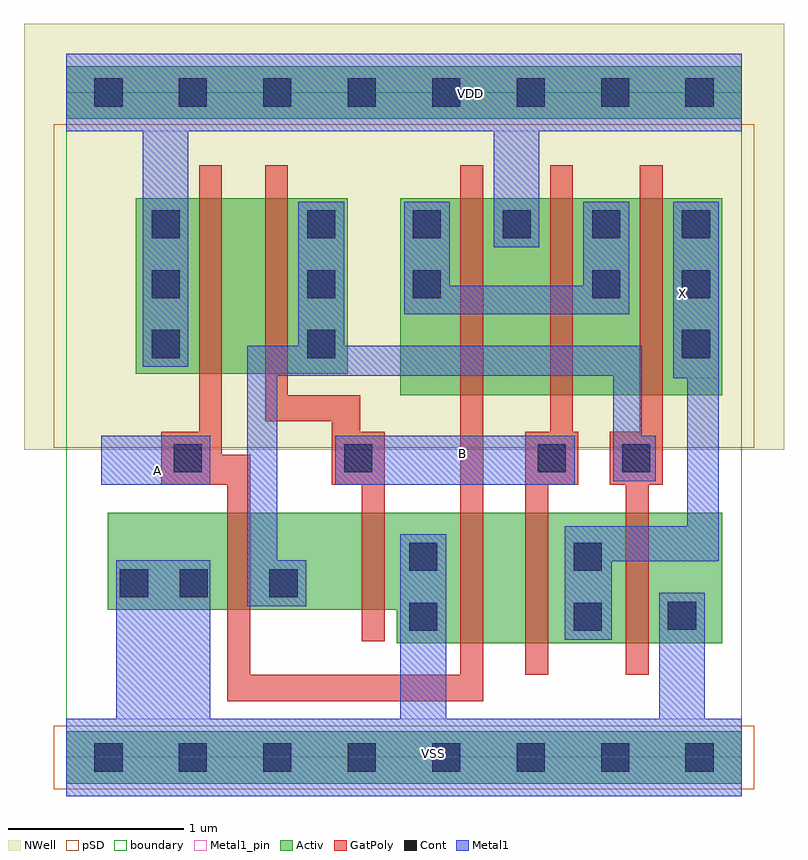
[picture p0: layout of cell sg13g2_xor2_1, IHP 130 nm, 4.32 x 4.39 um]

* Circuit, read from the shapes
.subckt sg13g2_xor2_1 A B VDD VSS X
XM1 n1 A VSS VSS sg13_lv_nmos w=0.55u l=0.13u
XM2 VSS B n1 VSS sg13_lv_nmos w=0.55u l=0.13u
XM3 n2 A VSS VSS sg13_lv_nmos w=0.74u l=0.13u
XM4 X B n2 VSS sg13_lv_nmos w=0.74u l=0.13u
XM5 VSS n1 X VSS sg13_lv_nmos w=0.74u l=0.13u
XM6 n3 A VDD VDD sg13_lv_pmos w=1u l=0.13u
XM7 n1 B n3 VDD sg13_lv_pmos w=1u l=0.13u
XM8 VDD A n4 VDD sg13_lv_pmos w=1.12u l=0.13u
XM9 n4 B VDD VDD sg13_lv_pmos w=1.12u l=0.13u
XM10 X n1 n4 VDD sg13_lv_pmos w=1.12u l=0.13u
.ends

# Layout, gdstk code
import gdstk
lib = gdstk.Library(unit=1e-6, precision=1e-09)
def R(c, l, rs):  # rectangles x0, y0, x1, y1
    for r in rs: c.add(gdstk.rectangle(r[:2], r[2:], *l))
def P(c, l, *ps):  # polygons
    for p in ps: c.add(gdstk.Polygon(p, *l))
Activ = (1, 0)
GatPoly = (5, 0)
Cont = (6, 0)
Metal1 = (8, 0)
Metal1_pin = (8, 2)
pSD = (14, 0)
NWell = (31, 0)
boundary = (189, 4)

sg13g2_xor2_1 = lib.new_cell('sg13g2_xor2_1')
R(sg13g2_xor2_1, Activ, [(0,-0.15,3.84,0.15), (0,-0.15,3.84,0.15), (1.9,2.06,3.73,3.18), (1.9,2.06,3.73,3.18), (0.395,2.18,1.6,3.18), (0.395,2.18,1.6,3.18), (0,3.63,3.84,3.93), (0,3.63,3.84,3.93)])
P(sg13g2_xor2_1, Activ, [(1.88,0.65),(1.88,0.84),(0.235,0.84),(0.235,1.39),(3.73,1.39),(3.73,0.65)],
  [(1.88,0.65),(1.88,0.84),(0.235,0.84),(0.235,1.39),(3.73,1.39),(3.73,0.65)])
P(sg13g2_xor2_1, GatPoly, [(1.68,0.66),(1.68,1.55),(1.51,1.55),(1.51,1.91),(1.13,1.91),(1.13,3.365),(1.26,3.365),(1.26,2.06),(1.67,2.06),(1.67,1.85),(1.81,1.85),(1.81,0.66)],
  [(2.61,0.47),(2.61,1.85),(2.75,1.85),(2.75,3.365),(2.88,3.365),(2.88,1.85),(2.91,1.85),(2.91,1.55),(2.74,1.55),(2.74,0.47)],
  [(3.18,0.47),(3.18,1.55),(3.09,1.55),(3.09,1.85),(3.26,1.85),(3.26,3.365),(3.39,3.365),(3.39,1.55),(3.31,1.55),(3.31,0.47)],
  [(0.915,0.32),(0.915,1.55),(0.54,1.55),(0.54,1.85),(0.755,1.85),(0.755,3.365),(0.885,3.365),(0.885,1.72),(1.045,1.72),(1.045,0.47),(2.24,0.47),(2.24,3.365),(2.37,3.365),(2.37,0.32)],
  [(1.68,0.66),(1.68,1.55),(1.51,1.55),(1.51,1.91),(1.13,1.91),(1.13,3.365),(1.26,3.365),(1.26,2.06),(1.67,2.06),(1.67,1.85),(1.81,1.85),(1.81,0.66)],
  [(2.61,0.47),(2.61,1.85),(2.75,1.85),(2.75,3.365),(2.88,3.365),(2.88,1.85),(2.91,1.85),(2.91,1.55),(2.74,1.55),(2.74,0.47)],
  [(3.18,0.47),(3.18,1.55),(3.09,1.55),(3.09,1.85),(3.26,1.85),(3.26,3.365),(3.39,3.365),(3.39,1.55),(3.31,1.55),(3.31,0.47)],
  [(0.915,0.32),(0.915,1.55),(0.54,1.55),(0.54,1.85),(0.755,1.85),(0.755,3.365),(0.885,3.365),(0.885,1.72),(1.045,1.72),(1.045,0.47),(2.24,0.47),(2.24,3.365),(2.37,3.365),(2.37,0.32)])
R(sg13g2_xor2_1, Cont, [(0.16,-0.08,0.32,0.08), (0.16,-0.08,0.32,0.08), (0.64,-0.08,0.8,0.08), (0.64,-0.08,0.8,0.08), (1.12,-0.08,1.28,0.08), (1.12,-0.08,1.28,0.08), (1.6,-0.08,1.76,0.08), (1.6,-0.08,1.76,0.08), (2.08,-0.08,2.24,0.08), (2.08,-0.08,2.24,0.08), (2.56,-0.08,2.72,0.08), (2.56,-0.08,2.72,0.08), (3.04,-0.08,3.2,0.08), (3.04,-0.08,3.2,0.08), (3.52,-0.08,3.68,0.08), (3.52,-0.08,3.68,0.08), (1.95,0.72,2.11,0.88), (1.95,0.72,2.11,0.88), (2.885,0.72,3.045,0.88), (2.885,0.72,3.045,0.88), (3.42,0.725,3.58,0.885), (3.42,0.725,3.58,0.885), (0.305,0.91,0.465,1.07), (0.305,0.91,0.465,1.07), (0.645,0.91,0.805,1.07), (0.645,0.91,0.805,1.07), (1.155,0.91,1.315,1.07), (1.155,0.91,1.315,1.07), (1.95,1.06,2.11,1.22), (1.95,1.06,2.11,1.22), (2.885,1.06,3.045,1.22), (2.885,1.06,3.045,1.22), (0.61,1.62,0.77,1.78), (0.61,1.62,0.77,1.78), (1.58,1.62,1.74,1.78), (1.58,1.62,1.74,1.78), (2.68,1.62,2.84,1.78), (2.68,1.62,2.84,1.78), (3.16,1.62,3.32,1.78), (3.16,1.62,3.32,1.78), (0.485,2.27,0.645,2.43), (0.485,2.27,0.645,2.43), (1.37,2.27,1.53,2.43), (1.37,2.27,1.53,2.43), (3.5,2.27,3.66,2.43), (3.5,2.27,3.66,2.43), (0.485,2.61,0.645,2.77), (0.485,2.61,0.645,2.77), (1.37,2.61,1.53,2.77), (1.37,2.61,1.53,2.77), (1.97,2.61,2.13,2.77), (1.97,2.61,2.13,2.77), (2.99,2.61,3.15,2.77), (2.99,2.61,3.15,2.77), (3.5,2.61,3.66,2.77), (3.5,2.61,3.66,2.77), (0.485,2.95,0.645,3.11), (0.485,2.95,0.645,3.11), (1.37,2.95,1.53,3.11), (1.37,2.95,1.53,3.11), (1.97,2.95,2.13,3.11), (1.97,2.95,2.13,3.11), (2.48,2.95,2.64,3.11), (2.48,2.95,2.64,3.11), (2.99,2.95,3.15,3.11), (2.99,2.95,3.15,3.11), (3.5,2.95,3.66,3.11), (3.5,2.95,3.66,3.11), (0.16,3.7,0.32,3.86), (0.16,3.7,0.32,3.86), (0.64,3.7,0.8,3.86), (0.64,3.7,0.8,3.86), (1.12,3.7,1.28,3.86), (1.12,3.7,1.28,3.86), (1.6,3.7,1.76,3.86), (1.6,3.7,1.76,3.86), (2.08,3.7,2.24,3.86), (2.08,3.7,2.24,3.86), (2.56,3.7,2.72,3.86), (2.56,3.7,2.72,3.86), (3.04,3.7,3.2,3.86), (3.04,3.7,3.2,3.86), (3.52,3.7,3.68,3.86), (3.52,3.7,3.68,3.86)])
R(sg13g2_xor2_1, Metal1, [(0.2,1.55,0.82,1.83), (0.2,1.55,0.82,1.83), (1.53,1.55,2.89,1.83), (1.53,1.55,2.89,1.83)])
P(sg13g2_xor2_1, Metal1, [(1.92,2.52),(1.92,3.16),(2.18,3.16),(2.18,2.68),(2.94,2.68),(2.94,3.16),(3.2,3.16),(3.2,2.52)],
  [(0.435,2.22),(0.435,3.56),(0,3.56),(0,4),(3.84,4),(3.84,3.56),(2.69,3.56),(2.69,2.9),(2.43,2.9),(2.43,3.56),(0.695,3.56),(0.695,2.22)],
  [(0,-0.22),(0,0.22),(0.285,0.22),(0.285,1.12),(0.82,1.12),(0.82,0.22),(1.9,0.22),(1.9,1.27),(2.16,1.27),(2.16,0.22),(3.37,0.22),(3.37,0.935),(3.63,0.935),(3.63,0.22),(3.84,0.22),(3.84,-0.22)],
  [(2.835,0.67),(2.835,1.315),(3.53,1.315),(3.53,2.155),(3.45,2.155),(3.45,3.16),(3.71,3.16),(3.71,1.115),(3.1,1.115),(3.1,0.67)],
  [(1.03,0.86),(1.03,2.34),(1.32,2.34),(1.32,3.16),(1.58,3.16),(1.58,2.34),(3.27,2.34),(3.27,1.83),(3.35,1.83),(3.35,1.57),(3.11,1.57),(3.11,2.17),(1.2,2.17),(1.2,1.12),(1.365,1.12),(1.365,0.86)],
  [(1.92,2.52),(1.92,3.16),(2.18,3.16),(2.18,2.68),(2.94,2.68),(2.94,3.16),(3.2,3.16),(3.2,2.52)],
  [(0.435,2.22),(0.435,3.56),(0,3.56),(0,4),(3.84,4),(3.84,3.56),(2.69,3.56),(2.69,2.9),(2.43,2.9),(2.43,3.56),(0.695,3.56),(0.695,2.22)],
  [(0,-0.22),(0,0.22),(0.285,0.22),(0.285,1.12),(0.82,1.12),(0.82,0.22),(1.9,0.22),(1.9,1.27),(2.16,1.27),(2.16,0.22),(3.37,0.22),(3.37,0.935),(3.63,0.935),(3.63,0.22),(3.84,0.22),(3.84,-0.22)],
  [(2.835,0.67),(2.835,1.315),(3.53,1.315),(3.53,2.155),(3.45,2.155),(3.45,3.16),(3.71,3.16),(3.71,1.115),(3.1,1.115),(3.1,0.67)],
  [(1.03,0.86),(1.03,2.34),(1.32,2.34),(1.32,3.16),(1.58,3.16),(1.58,2.34),(3.27,2.34),(3.27,1.83),(3.35,1.83),(3.35,1.57),(3.11,1.57),(3.11,2.17),(1.2,2.17),(1.2,1.12),(1.365,1.12),(1.365,0.86)])
R(sg13g2_xor2_1, Metal1_pin, [(0,-0.22,3.84,0.22), (0,-0.22,3.84,0.22), (0.2,1.55,0.82,1.83), (0.2,1.55,0.82,1.83), (1.53,1.55,2.89,1.83), (1.53,1.55,2.89,1.83), (3.45,2.155,3.71,3.16), (3.45,2.155,3.71,3.16), (0,3.56,3.84,4), (0,3.56,3.84,4)])
R(sg13g2_xor2_1, pSD, [(-0.07,-0.18,3.91,0.18), (-0.07,-0.18,3.91,0.18), (-0.07,1.76,3.91,3.6), (-0.07,1.76,3.91,3.6)])
R(sg13g2_xor2_1, NWell, [(-0.24,1.75,4.08,4.17), (-0.24,1.75,4.08,4.17)])
R(sg13g2_xor2_1, boundary, [(0,0,3.84,3.78), (0,0,3.84,3.78)])
sg13g2_xor2_1.add(gdstk.Label('X', (3.505,2.635), layer=8, texttype=25))
sg13g2_xor2_1.add(gdstk.Label('VDD', (2.3,3.775), layer=8, texttype=25))
sg13g2_xor2_1.add(gdstk.Label('B', (2.255,1.725), layer=8, texttype=25))
sg13g2_xor2_1.add(gdstk.Label('A', (0.52,1.63), layer=8, texttype=25))
sg13g2_xor2_1.add(gdstk.Label('VSS', (2.09,0.02), layer=8, texttype=25))
sg13g2_xor2_1.add(gdstk.Label('X', (3.505,2.635), layer=8, texttype=25))
sg13g2_xor2_1.add(gdstk.Label('VDD', (2.3,3.775), layer=8, texttype=25))
sg13g2_xor2_1.add(gdstk.Label('B', (2.255,1.725), layer=8, texttype=25))
sg13g2_xor2_1.add(gdstk.Label('A', (0.52,1.63), layer=8, texttype=25))
sg13g2_xor2_1.add(gdstk.Label('VSS', (2.09,0.02), layer=8, texttype=25))

lib.write_gds('sg13g2_xor2_1.gds')
